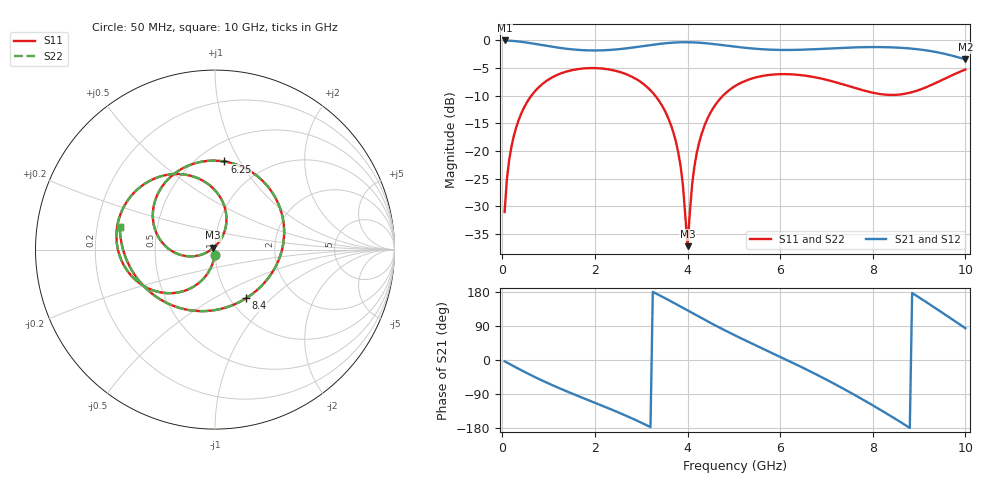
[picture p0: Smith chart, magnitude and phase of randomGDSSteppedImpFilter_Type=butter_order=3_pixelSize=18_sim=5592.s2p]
! freq	dB(S11)	phase(S11)	dB(S12)	phase(S12)
!  dB(S21)	phase(S21)	dB(S22)	phase(S22)
!S-par simulation data
#  GHz  S  DB  R 50
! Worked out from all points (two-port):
!   200 points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, 50 MHz to 10 GHz, reference 50 ohm
!   highest |S21| = -0.01 dB at 50 MHz (marker M1); lowest = -3.4 dB at 10 GHz (marker M2)
!   |S21| within 3 dB of the highest: start of sweep to 9.826 GHz
!   lowest |S11| = -37.2 dB at 4 GHz (marker M3), VSWR 1.03, Z = 49 + j0.978 ohm
!   |S11| at or under -10 dB: start of sweep to 627.4 MHz; 3.303 GHz to 4.764 GHz (1.461 GHz wide, 36.2 % of centre)
!   |S22| runs from -37.4 to -5.0 dB; largest |S21 - S12| = 0
!   S11 on the Smith chart (normalised r, x): 50 MHz: 1.00, -0.06; 6.25 GHz: 0.66, +0.86; 8.4 GHz: 1.18, -0.72; 10 GHz: 0.30, +0.11
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0.05  -31.00 -93.4  -0.01 -3.4  -0.01 -3.4  -31.00 -93.4
0.2  -19.09 -103.7  -0.08 -13.3  -0.08 -13.3  -19.09 -103.7
0.5  -11.66 -123.1  -0.35 -32.6  -0.35 -32.6  -11.66 -123.1
1.05  -6.81 -155.2  -1.11 -64.8  -1.11 -64.8  -6.81 -155.2
1.75  -5.07 169.0  -1.77 -100.6  -1.77 -100.6  -5.07 169.0
2.65  -6.02 124.2  -1.47 -145.9  -1.47 -145.9  -6.02 124.2
3.4  -11.12 82.1  -0.63 170.5  -0.63 170.5  -11.12 82.0
3.8  -20.25 61.0  -0.35 144.3  -0.35 144.3  -20.25 60.8
3.9  -26.12 61.7  -0.33 137.6  -0.33 137.6  -26.13 61.3
4  -37.18 133.9  -0.33 130.9  -0.33 130.9  -37.36 134.1
4.1  -25.96 -160.7  -0.35 124.2  -0.35 124.2  -25.98 -160.3
4.3  -17.01 -164.5  -0.44 110.8  -0.44 110.8  -17.01 -164.4
5.05  -8.13 152.0  -1.15 63.4  -1.15 63.4  -8.13 152.0
5.65  -6.37 117.9  -1.61 28.5  -1.61 28.5  -6.37 117.9
6.25  -6.13 83.9  -1.72 -6.2  -1.72 -6.2  -6.13 83.9
6.7  -6.58 57.4  -1.61 -33.1  -1.61 -33.1  -6.58 57.4
7.6  -8.55 0.0  -1.26 -91.6  -1.26 -91.6  -8.55 -0.0
8.35  -9.84 -53.7  -1.24 -145.1  -1.24 -145.1  -9.84 -53.7
8.4  -9.85 -57.6  -1.25 -148.8  -1.25 -148.8  -9.85 -57.6
9.1  -8.64 -115.3  -1.73 157.2  -1.73 157.2  -8.63 -115.2
9.55  -6.94 -154.5  -2.42 120.8  -2.42 120.8  -6.94 -154.4
10  -5.26 166.5  -3.43 83.9  -3.43 83.9  -5.26 166.6
